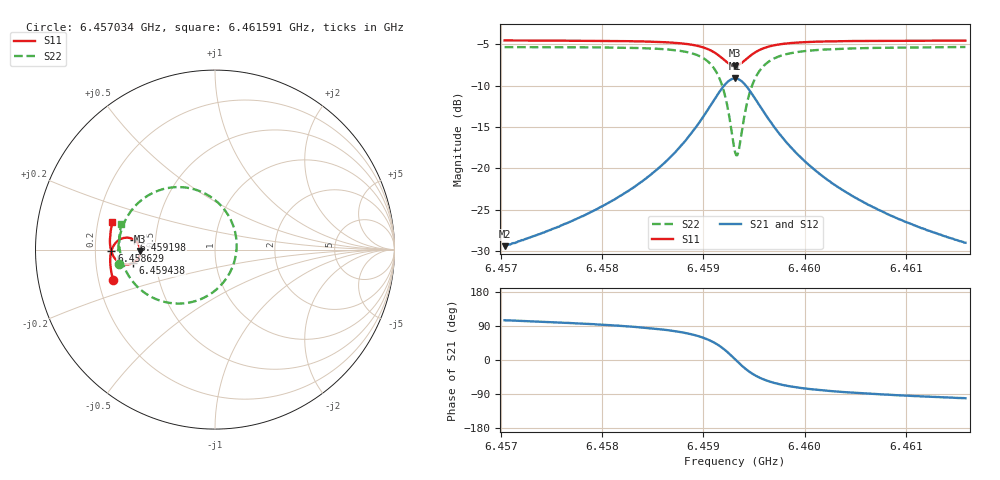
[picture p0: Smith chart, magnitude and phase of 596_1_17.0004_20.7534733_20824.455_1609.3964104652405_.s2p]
#  HZ  S  RI  R  50.00
! Rohde & Schwarz Vector Network Analyzer
! Rohde-Schwarz,ZNB20-2Port,1311601062101988,3.16
! Created: UTC 3/20/2024, 11:18:49 PM
! freq[Hz]  re:S11  im:S11  re:S21  im:S21  re:S12  im:S12  re:S22  im:S22
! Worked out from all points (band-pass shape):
!   401 points, 6.457034 GHz to 6.461591 GHz, reference 50 ohm
!   highest |S21| = -9.13 dB at 6.459312 GHz (marker M1); lowest = -29.4 dB at 6.457034 GHz (marker M2)
!   |S21| within 3 dB of the highest: 6.459085 GHz to 6.45954 GHz (454.8 kHz wide, 0.00704 % of centre)
!   lowest |S11| = -7.6 dB at 6.459312 GHz (marker M3), VSWR 2.43, Z = 20.6 - j0.414 ohm
!   |S11| at or under -10 dB: nowhere
!   |S22| runs from -18.4 to -5.3 dB; largest |S21 - S12| = 0.014
!   S11 on the Smith chart (normalised r, x): 6.457034 GHz: 0.26, -0.14; 6.458629 GHz: 0.27, -0.01; 6.459198 GHz: 0.38, +0.05; 6.459438 GHz: 0.37, -0.07; 6.461591 GHz: 0.26, +0.12
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6.4570336e9  -0.5678 -0.1679  -0.00869 0.0328  -0.00704 0.0328  -0.5338 -0.0798
6.4577969e9  -0.5813 -0.1008  -0.0054 0.0511  -0.0027 0.0504  -0.5384 0.0104
6.4582299e9  -0.5839 -0.0572  0.00114 0.0714  0.00444 0.0698  -0.5291 0.0801
6.4585603e9  -0.5799 -0.0172  0.0149 0.0997  0.019 0.0969  -0.5033 0.1559
6.4586287e9  -0.5775 -0.0077  0.0203 0.1081  0.0245 0.1049  -0.4931 0.176
6.4588224e9  -0.5646 0.0227  0.0472 0.1392  0.0514 0.1342  -0.4424 0.2455
6.4589705e9  -0.5417 0.0489  0.093 0.1699  0.0964 0.1632  -0.3577 0.3101
6.4591072e9  -0.4974 0.0663  0.1813 0.1863  0.1823 0.1788  -0.1965 0.3483
6.4591983e9  -0.4524 0.0557  0.2722 0.1544  0.2723 0.1485  -0.0281 0.2965
6.4592667e9  -0.4231 0.0232  0.3329 0.0814  0.3353 0.0761  0.0885 0.1647
6.4593123e9  -0.4162 -0.0083  0.3495 0.0126  0.3532 0.00554  0.1206 0.0357
6.4593464e9  -0.4202 -0.0322  0.3433 -0.0405  0.3473 -0.0497  0.1084 -0.065
6.459392e9  -0.4361 -0.0586  0.314 -0.1011  0.3164 -0.1132  0.0492 -0.1796
6.4594376e9  -0.4585 -0.075  0.2713 -0.1423  0.2705 -0.1558  -0.0375 -0.2551
6.4595287e9  -0.5024 -0.0819  0.1854 -0.1734  0.179 -0.1851  -0.209 -0.3009
6.4595971e9  -0.5269 -0.0745  0.1364 -0.171  0.1282 -0.1802  -0.3037 -0.2852
6.4596769e9  -0.5466 -0.0614  0.0966 -0.1587  0.0879 -0.1652  -0.3786 -0.2498
6.4598364e9  -0.5682 -0.0334  0.0514 -0.1304  0.0436 -0.1331  -0.4596 -0.1762
6.4600756e9  -0.581 0.00221  0.0221 -0.0983  0.0161 -0.0989  -0.5075 -0.0929
6.4604402e9  -0.5853 0.0455  0.00548 -0.0699  0.00135 -0.0693  -0.5295 -0.00897
6.460839e9  -0.5834 0.0856  -0.00157 -0.0523  -0.00454 -0.0515  -0.5328 0.0551
6.4615909e9  -0.5713 0.1523  -0.00672 -0.0349  -0.00834 -0.034  -0.5213 0.1445
